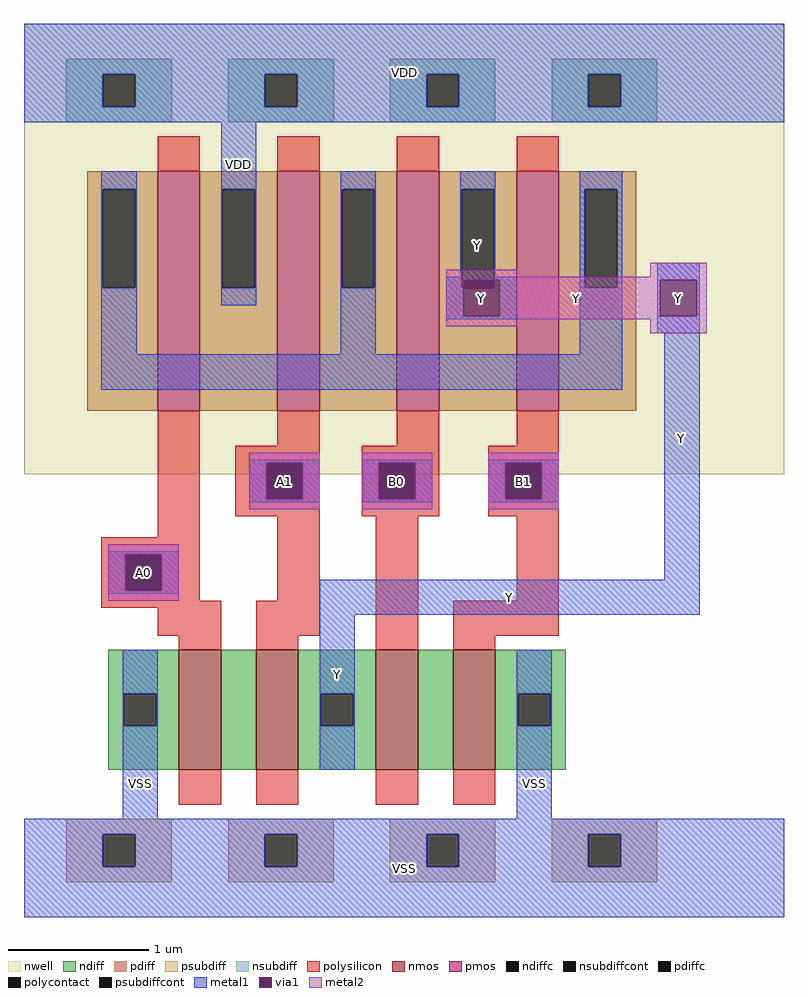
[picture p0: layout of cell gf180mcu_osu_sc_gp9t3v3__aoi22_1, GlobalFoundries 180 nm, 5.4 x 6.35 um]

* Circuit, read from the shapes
.subckt gf180mcu_osu_sc_gp9t3v3__aoi22_1 A0 A1 B0 B1 Y VDD VSS
XM1 n1 A0 VSS VSS nfet_03v3 w=0.85u l=0.3u
XM2 Y A1 n1 VSS nfet_03v3 w=0.85u l=0.3u
XM3 n2 B0 Y VSS nfet_03v3 w=0.85u l=0.3u
XM4 VSS B1 n2 VSS nfet_03v3 w=0.85u l=0.3u
XM5 VDD A0 n3 VDD pfet_03v3 w=1.7u l=0.3u
XM6 n3 A1 VDD VDD pfet_03v3 w=1.7u l=0.3u
XM7 Y B0 n3 VDD pfet_03v3 w=1.7u l=0.3u
XM8 n3 B1 Y VDD pfet_03v3 w=1.7u l=0.3u
.ends

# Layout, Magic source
magic
tech gf180mcuA
magscale 1 10
<< nwell >>
rect 0 630 1080 1270
<< nmos >>
rect 220 210 280 380
rect 330 210 390 380
rect 500 210 560 380
rect 610 210 670 380
<< pmos >>
rect 190 720 250 1060
rect 360 720 420 1060
rect 530 720 590 1060
rect 700 720 760 1060
<< ndiff >>
rect 120 318 220 380
rect 120 272 142 318
rect 188 272 220 318
rect 120 210 220 272
rect 280 210 330 380
rect 390 318 500 380
rect 390 272 422 318
rect 468 272 500 318
rect 390 210 500 272
rect 560 210 610 380
rect 670 318 770 380
rect 670 272 702 318
rect 748 272 770 318
rect 670 210 770 272
<< pdiff >>
rect 90 1035 190 1060
rect 90 895 112 1035
rect 158 895 190 1035
rect 90 720 190 895
rect 250 1035 360 1060
rect 250 895 282 1035
rect 328 895 360 1035
rect 250 720 360 895
rect 420 1035 530 1060
rect 420 895 452 1035
rect 498 895 530 1035
rect 420 720 530 895
rect 590 1035 700 1060
rect 590 895 622 1035
rect 668 895 700 1035
rect 590 720 700 895
rect 760 1035 870 1060
rect 760 895 797 1035
rect 843 895 870 1035
rect 760 720 870 895
<< ndiffc >>
rect 142 272 188 318
rect 422 272 468 318
rect 702 272 748 318
<< pdiffc >>
rect 112 895 158 1035
rect 282 895 328 1035
rect 452 895 498 1035
rect 622 895 668 1035
rect 797 895 843 1035
<< psubdiff >>
rect 60 118 210 140
rect 60 72 112 118
rect 158 72 210 118
rect 60 50 210 72
rect 290 118 440 140
rect 290 72 342 118
rect 388 72 440 118
rect 290 50 440 72
rect 520 118 670 140
rect 520 72 572 118
rect 618 72 670 118
rect 520 50 670 72
rect 750 118 900 140
rect 750 72 802 118
rect 848 72 900 118
rect 750 50 900 72
<< nsubdiff >>
rect 60 1198 210 1220
rect 60 1152 112 1198
rect 158 1152 210 1198
rect 60 1130 210 1152
rect 290 1198 440 1220
rect 290 1152 342 1198
rect 388 1152 440 1198
rect 290 1130 440 1152
rect 520 1198 670 1220
rect 520 1152 572 1198
rect 618 1152 670 1198
rect 520 1130 670 1152
rect 750 1198 900 1220
rect 750 1152 802 1198
rect 848 1152 900 1198
rect 750 1130 900 1152
<< psubdiffcont >>
rect 112 72 158 118
rect 342 72 388 118
rect 572 72 618 118
rect 802 72 848 118
<< nsubdiffcont >>
rect 112 1152 158 1198
rect 342 1152 388 1198
rect 572 1152 618 1198
rect 802 1152 848 1198
<< polysilicon >>
rect 190 1060 250 1110
rect 360 1060 420 1110
rect 530 1060 590 1110
rect 700 1060 760 1110
rect 190 540 250 720
rect 360 670 420 720
rect 530 670 590 720
rect 700 670 760 720
rect 300 643 420 670
rect 300 597 347 643
rect 393 597 420 643
rect 300 570 420 597
rect 480 643 590 670
rect 480 597 507 643
rect 553 597 590 643
rect 480 570 590 597
rect 660 643 760 670
rect 660 597 687 643
rect 733 597 760 643
rect 660 570 760 597
rect 110 513 250 540
rect 110 467 147 513
rect 193 467 250 513
rect 110 450 250 467
rect 360 450 420 570
rect 110 440 280 450
rect 190 400 280 440
rect 220 380 280 400
rect 330 400 420 450
rect 330 380 390 400
rect 500 380 560 570
rect 700 450 760 570
rect 610 400 760 450
rect 610 380 670 400
rect 220 160 280 210
rect 330 160 390 210
rect 500 160 560 210
rect 610 160 670 210
<< polycontact >>
rect 347 597 393 643
rect 507 597 553 643
rect 687 597 733 643
rect 147 467 193 513
<< metal1 >>
rect 0 1198 1080 1270
rect 0 1152 112 1198
rect 158 1152 342 1198
rect 388 1152 572 1198
rect 618 1152 802 1198
rect 848 1152 1080 1198
rect 0 1130 1080 1152
rect 110 1035 160 1060
rect 110 895 112 1035
rect 158 895 160 1035
rect 110 800 160 895
rect 280 1035 330 1130
rect 280 895 282 1035
rect 328 895 330 1035
rect 280 870 330 895
rect 450 1035 500 1060
rect 450 895 452 1035
rect 498 895 500 1035
rect 620 1035 670 1060
rect 620 910 622 1035
rect 450 800 500 895
rect 600 895 622 910
rect 668 910 670 1035
rect 790 1035 850 1060
rect 668 906 700 910
rect 600 854 624 895
rect 676 854 700 906
rect 600 850 700 854
rect 790 895 797 1035
rect 843 895 850 1035
rect 790 800 850 895
rect 900 906 960 930
rect 900 854 904 906
rect 956 854 960 906
rect 900 830 960 854
rect 110 750 850 800
rect 320 646 420 650
rect 320 594 344 646
rect 396 594 420 646
rect 320 590 420 594
rect 480 646 580 650
rect 480 594 504 646
rect 556 594 580 646
rect 480 590 580 594
rect 660 646 760 650
rect 660 594 684 646
rect 736 594 760 646
rect 660 590 760 594
rect 120 516 220 520
rect 120 464 144 516
rect 196 464 220 516
rect 910 480 960 830
rect 120 460 220 464
rect 420 430 960 480
rect 140 318 190 380
rect 140 272 142 318
rect 188 272 190 318
rect 140 140 190 272
rect 420 318 470 430
rect 420 272 422 318
rect 468 272 470 318
rect 420 210 470 272
rect 700 318 750 380
rect 700 272 702 318
rect 748 272 750 318
rect 700 140 750 272
rect 0 118 1080 140
rect 0 72 112 118
rect 158 72 342 118
rect 388 72 572 118
rect 618 72 802 118
rect 848 72 1080 118
rect 0 0 1080 72
<< via1 >>
rect 624 895 668 906
rect 668 895 676 906
rect 624 854 676 895
rect 904 854 956 906
rect 344 643 396 646
rect 344 597 347 643
rect 347 597 393 643
rect 393 597 396 643
rect 344 594 396 597
rect 504 643 556 646
rect 504 597 507 643
rect 507 597 553 643
rect 553 597 556 643
rect 504 594 556 597
rect 684 643 736 646
rect 684 597 687 643
rect 687 597 733 643
rect 733 597 736 643
rect 684 594 736 597
rect 144 513 196 516
rect 144 467 147 513
rect 147 467 193 513
rect 193 467 196 513
rect 144 464 196 467
<< metal2 >>
rect 600 910 700 920
rect 890 910 970 930
rect 600 906 970 910
rect 600 854 624 906
rect 676 854 904 906
rect 956 854 970 906
rect 600 850 970 854
rect 600 840 700 850
rect 890 830 970 850
rect 320 646 420 660
rect 320 594 344 646
rect 396 594 420 646
rect 320 580 420 594
rect 480 646 580 660
rect 480 594 504 646
rect 556 594 580 646
rect 480 580 580 594
rect 660 646 760 660
rect 660 594 684 646
rect 736 594 760 646
rect 660 580 760 594
rect 120 516 220 530
rect 120 464 144 516
rect 196 464 220 516
rect 120 450 220 464
<< labels >>
rlabel via1 s 144 464 196 516 4 A0
port 1 nsew signal input
rlabel via1 s 344 594 396 646 4 A1
port 2 nsew signal input
rlabel via1 s 504 594 556 646 4 B0
port 3 nsew signal input
rlabel via1 s 684 594 736 646 4 B1
port 4 nsew signal input
rlabel via1 s 904 854 956 906 4 Y
port 5 nsew signal output
rlabel metal1 s 280 870 330 1270 4 VDD
port 6 nsew power bidirectional abutment
rlabel metal1 s 140 0 190 380 4 VSS
port 7 nsew ground bidirectional abutment
rlabel metal1 s 0 1130 1080 1270 1 VDD
port 6 nsew power bidirectional abutment
rlabel metal1 s 700 0 750 380 1 VSS
port 7 nsew ground bidirectional abutment
rlabel metal1 s 0 0 1080 140 1 VSS
port 7 nsew ground bidirectional abutment
rlabel metal2 s 120 450 220 530 1 A0
port 1 nsew signal input
rlabel metal1 s 120 460 220 520 1 A0
port 1 nsew signal input
rlabel metal2 s 320 580 420 660 1 A1
port 2 nsew signal input
rlabel metal1 s 320 590 420 650 1 A1
port 2 nsew signal input
rlabel metal2 s 480 580 580 660 1 B0
port 3 nsew signal input
rlabel metal1 s 480 590 580 650 1 B0
port 3 nsew signal input
rlabel metal2 s 660 580 760 660 1 B1
port 4 nsew signal input
rlabel metal1 s 660 590 760 650 1 B1
port 4 nsew signal input
rlabel via1 s 624 854 676 906 1 Y
port 5 nsew signal output
rlabel metal2 s 600 840 700 920 1 Y
port 5 nsew signal output
rlabel metal2 s 600 850 970 910 1 Y
port 5 nsew signal output
rlabel metal2 s 890 830 970 930 1 Y
port 5 nsew signal output
rlabel metal1 s 620 850 670 1060 1 Y
port 5 nsew signal output
rlabel metal1 s 600 850 700 910 1 Y
port 5 nsew signal output
rlabel metal1 s 420 210 470 480 1 Y
port 5 nsew signal output
rlabel metal1 s 420 430 960 480 1 Y
port 5 nsew signal output
rlabel metal1 s 910 430 960 930 1 Y
port 5 nsew signal output
rlabel metal1 s 900 830 960 930 1 Y
port 5 nsew signal output
<< properties >>
string FIXED_BBOX 0 0 1080 1270
string GDS_END 52484
string GDS_FILE $PDKPATH/libs.ref/gf180mcu_osu_sc_gp9t3v3/gds/gf180mcu_osu_sc_gp9t3v3.gds
string GDS_START 46066
string LEFclass CORE
string LEFsite gf180mcu_osu_sc_gp9t3v3
string LEFsymmetry X Y
<< end >>
